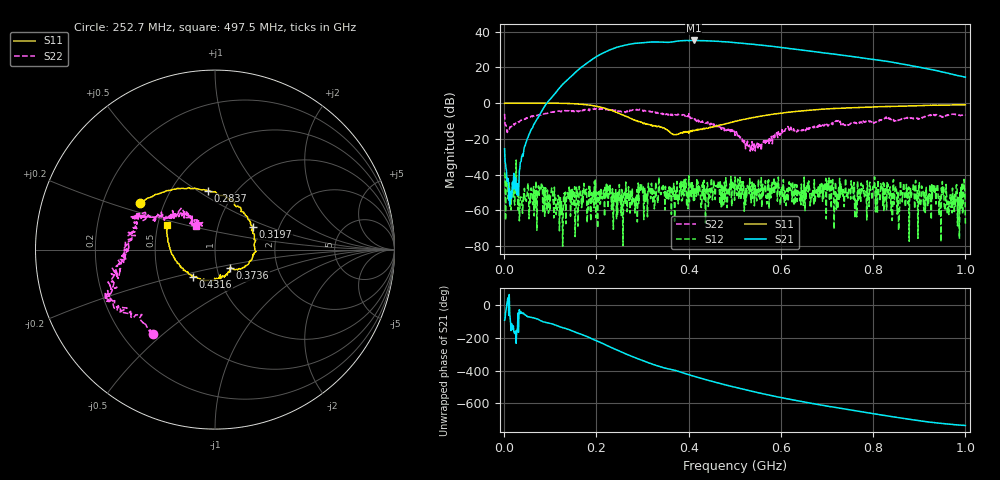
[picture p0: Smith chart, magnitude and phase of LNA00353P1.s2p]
! Created with skrf 1.9.0 (http://scikit-rf.org).
# Hz S RI R 50.0
!freq ReS11 ImS11 ReS21 ImS21 ReS12 ImS12 ReS22 ImS22
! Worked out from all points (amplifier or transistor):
!   1001 points, 1 MHz to 1 GHz, reference 50 ohm
!   highest |S21| = 35.0 dB at 410.6 MHz (marker M1)
!   |S21| within 3 dB of that: 256.3 MHz to 571 MHz (314.6 MHz wide, 76.1 % of centre)
!   unconditionally stable (mu >= 1): 221.9 MHz to 290.7 MHz; 335.7 MHz to 400.5 MHz; 400.6 MHz to end of sweep (the widest 3 of 36)
!   at 166.8 MHz: K = 1.24, MAG = 33.4 dB, |S12| = -52.8 dB
!   at 500.5 MHz: K = 1.22, MAG = 34.7 dB, |S12| = -41.3 dB
!   at 1 GHz: K = 33.78, MAG = 22.7 dB, |S12| = -67.5 dB
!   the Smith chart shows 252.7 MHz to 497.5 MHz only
!   S11 on the Smith chart (normalised r, x): 252.7 MHz: 0.37, +0.25; 283.7 MHz: 0.75, +0.55; 319.7 MHz: 1.47, +0.39; 373.6 MHz: 1.16, -0.24; 431.6 MHz: 0.75, -0.24; 497.5 MHz: 0.56, +0.17
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1000000  0.9889 7.76e-05  -0.00036 -0.0525  -0.0097 -0.00622  0.3857 0.3174
1.08892e8  0.5145 -0.8502  -0.8426 -1.559  -0.00147 -0.00419  0.4282 -0.3698
1.67833e8  -0.2454 -0.8933  -10.17 -0.4331  -0.000185 -0.00118  0.047 -0.6428
2.12788e8  -0.6837 -0.3113  -14.95 19.36  -0.00197 -0.000675  -0.2101 -0.6406
2.31769e8  -0.6316 0.0083  -7.112 30.84  0.00046 0.00234  -0.2859 -0.5653
2.52748e8  -0.4185 0.2569  9.024 37.92  -0.0024 -0.000965  -0.3435 -0.4697
2.83717e8  -0.0389 0.3289  35.81 30.13  -0.000359 0.000764  -0.6028 -0.2873
3.19681e8  0.2111 0.1251  50.78 1.458  -0.0046 0.00342  -0.5533 -0.107
3.34666e8  0.2234 -0.0048  49.72 -11.37  -0.000275 0.00479  -0.5058 -0.0585
3.73627e8  0.0836 -0.103  40.59 -35.12  0.00106 0.0026  -0.436 0.1643
4.1059e8  -0.0157 -0.1684  15.71 -54.12  0.000426 0.00184  -0.3131 0.1807
4.31569e8  -0.1211 -0.1522  -0.8491 -55.56  0.00527 0.00424  -0.2279 0.1768
4.64536e8  -0.2316 -0.0357  -23.9 -47.64  0.00655 0.00138  -0.128 0.1853
4.97503e8  -0.2669 0.138  -37.81 -31.83  0.00363 -0.00111  -0.1062 0.129
5.005e8  -0.2688 0.1571  -39.11 -30.11  0.00774 0.0038  -0.0648 0.107
5.4046e8  -0.18 0.3521  -43.01 -8.401  0.00432 -0.00105  -0.0425 0.0265
5.88412e8  0.033 0.5  -35.57 12.02  0.00365 -0.00535  -0.1034 -0.0838
6.67333e8  0.4125 0.49  -13.27 24.43  0.00142 -0.00207  -0.1999 -0.0577
7.53247e8  0.6883 0.2689  4.413 19.61  -0.00497 -8.73e-05  -0.2714 -0.00422
8.34166e8  0.8036 0.000987  10.92 9.357  -0.003 -0.000334  -0.3608 -0.0364
9.16084e8  0.816 -0.2822  9.11 0.9967  -0.00159 0.00115  -0.4004 0.156
1e9  0.7225 -0.5345  5.09 -1.517  0.000393 -0.000154  -0.3643 0.2936
